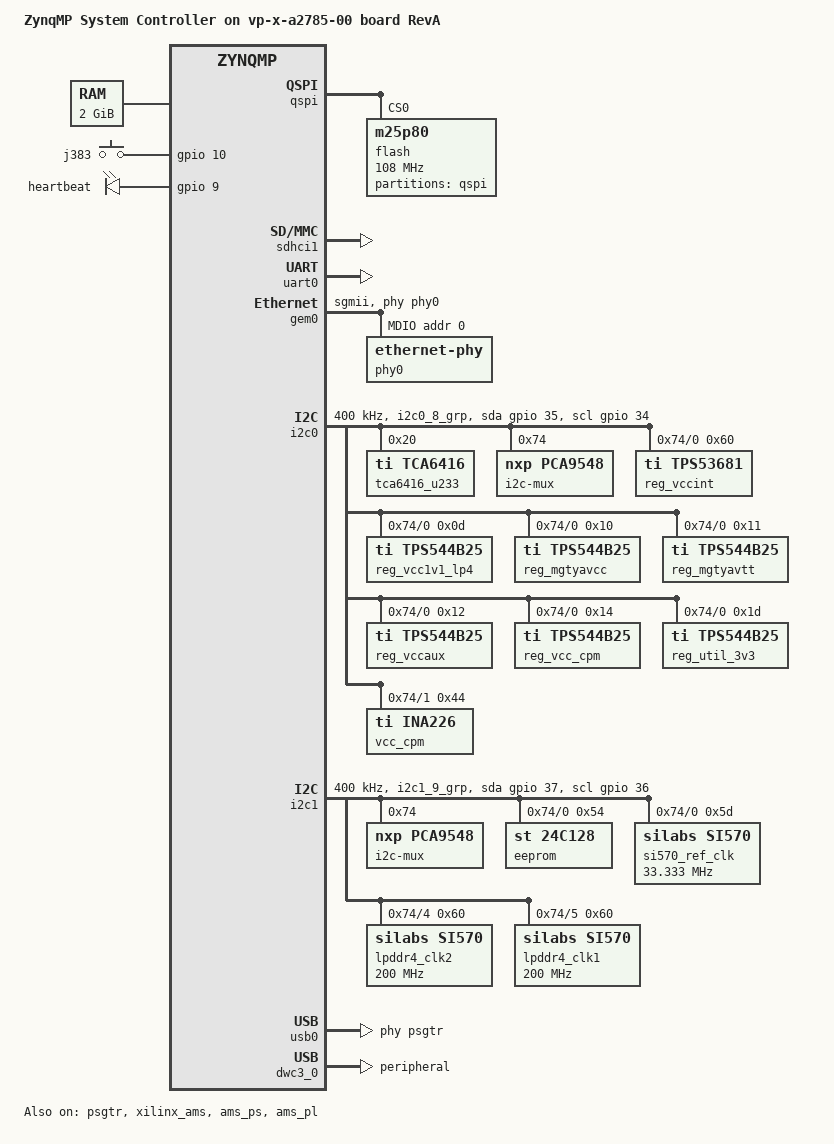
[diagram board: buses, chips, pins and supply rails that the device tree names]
// SPDX-License-Identifier: GPL-2.0
/*
 * dts file for Xilinx ZynqMP vp-x-a2785-00 RevA System Controller
 *
 * (C) Copyright 2021 - 2022, Xilinx, Inc.
 * (C) Copyright 2022 - 2023, Advanced Micro Devices, Inc.
 *
 * Michal Simek <michal.simek@amd.com>
 */
/dts-v1/;

#include "zynqmp.dtsi"
#include "zynqmp-clk-ccf.dtsi"
#include <dt-bindings/input/input.h>
#include <dt-bindings/gpio/gpio.h>
#include <dt-bindings/pinctrl/pinctrl-zynqmp.h>
#include <dt-bindings/phy/phy.h>

/ {
	model = "ZynqMP System Controller on vp-x-a2785-00 board RevA";
	compatible = "xlnx,zynqmp-vp-x-a2785-00-revA",
		     "xlnx,zynqmp-vp-x-a2785-00", "xlnx,zynqmp";

	aliases {
		ethernet0 = &gem0;
		i2c0 = &i2c0;
		i2c1 = &i2c1;
		mmc0 = &sdhci0;
		serial0 = &uart0;
		serial1 = &dcc;
		spi0 = &qspi;
		usb0 = &usb0;
		usb1 = &usb1;
		nvmem0 = &eeprom;
	};

	chosen {
		bootargs = "earlycon";
		stdout-path = "serial0:115200n8";
	};

	memory@0 {
		device_type = "memory";
		reg = <0 0 0 0x80000000>;
	};

	gpio-keys {
		compatible = "gpio-keys";
		autorepeat;
		j383 {
			label = "j383";
			gpios = <&gpio 10 GPIO_ACTIVE_HIGH>;
			linux,code = <BTN_MISC>;
			wakeup-source;
			autorepeat;
		};
	};

	leds {
		compatible = "gpio-leds";
		heartbeat-led { /* ds52 */
			label = "heartbeat";
			gpios = <&gpio 9 GPIO_ACTIVE_HIGH>;
			linux,default-trigger = "heartbeat";
		};
	};

	si5332_0: si5332-0 { /* ps_ref_clk - u142 */
		compatible = "fixed-clock";
		#clock-cells = <0>;
		clock-frequency = <33333333>;
	};

	si5332_1: si5332-1 { /* clk0_sgmii - u142 */
		compatible = "fixed-clock";
		#clock-cells = <0>;
		clock-frequency = <33333333>; /* FIXME */
	};

	si5332_2: si5332-2 { /* clk1_usb - u142 */
		compatible = "fixed-clock";
		#clock-cells = <0>;
		clock-frequency = <27000000>;
	};
};

&qspi { /* MIO 0-5 */
	status = "okay";
	flash@0 {
		compatible = "m25p80", "jedec,spi-nor"; /* u285 - mt25qu512abb8e12 512Mib */
		#address-cells = <1>;
		#size-cells = <1>;
		reg = <0>;
		spi-tx-bus-width = <4>; /* maybe 4 here */
		spi-rx-bus-width = <4>;
		spi-max-frequency = <108000000>;
		partition@0 { /* for testing purpose */
			label = "qspi";
			reg = <0 0x4000000>;
		};
	};
};

&sdhci1 { /* sd MIO 45-51 */
	status = "okay";
	no-1-8-v;
	disable-wp;
	xlnx,mio-bank = <1>;
};

&uart0 { /* uart0 MIO38-39 */
	status = "okay";
	bootph-all;
};

&gem0 {
	status = "okay";
	phy-handle = <&phy0>;
	phy-mode = "sgmii"; /* DTG generates this properly 1512 */
	is-internal-pcspma;
	/* phys = <&psgtr 0 PHY_TYPE_SGMII 0 0>; */
	mdio: mdio {
		#address-cells = <1>;
		#size-cells = <0>;
		/* reset-gpios = <&gpio 142 GPIO_ACTIVE_LOW>; */
		phy0: ethernet-phy@0 { /* u131 - M88e1512 */
			reg = <0>;
		};
	};
};

&gpio {
	status = "okay";
	gpio-line-names = "QSPI_CLK", "QSPI_DQ1", "QSPI_DQ2", "QSPI_DQ3", "QSPI_DQ0", /* 0 - 4 */
		  "QSPI_CS_B", "", "", "SYSCTLR_GPIO", "SYSCTLR_LED", /* 5 - 9 */
		  "SYSCTLR_PB", "PMC_ZU4_TRIGGER", "", "", "", /* 10 - 14 */
		  "", "", "", "", "", /* 15 - 19 */
		  "", "", "", "", "", /* 20 - 24 */
		  "", "", "", "", "", /* 25 - 29 */
		  "", "", "", "", "LP_I2C0_PMC_SCL", /* 30 - 34 */
		  "LP_I2C0_PMC_SDA", "LP_I2C1_SCL", "LP_I2C1_SDA", "UART0_RXD_IN", "UART0_TXD_OUT", /* 35 - 39 */
		  "", "", "ETH_RESET_B", "", "", /* 40 - 44 */
		  "SD1_CD", "SD1_DATA0", "SD1_DATA1", "SD1_DATA2", "SD1_DATA3", /* 45 - 49 */
		  "SD1_CMD", "SD1_CLK", "USB0_CLK", "USB0_DIR", "USB0_DATA2", /* 50 - 54 */
		  "USB0_NXT", "USB0_DATA0", "USB0_DATA1", "USB0_STP", "USB0_DATA3", /* 55 - 59 */
		  "USB0_DATA4", "USB0_DATA5", "USB0_DATA6", "USB0_DATA7", "", /* 60 - 64 */
		  "", "", "", "", "", /* 65 - 69 */
		  "", "", "", "", "", /* 70 - 74 */
		  "", "ETH_MDC", "ETH_MDIO", /* 75 - 77, MIO end and EMIO start */
		  "", "", /* 78 - 79 */
		  "", "", "", "", "", /* 80 - 84 */
		  "", "", "", "", "", /* 85 - 89 */
		  "", "", "", "", "", /* 90 - 94 */
		  "", "", "", "", "", /* 95 - 99 */
		  "", "", "", "", "", /* 100 - 104 */
		  "", "", "", "", "", /* 105 - 109 */
		  "", "", "", "", "", /* 110 - 114 */
		  "", "", "", "", "", /* 115 - 119 */
		  "", "", "", "", "", /* 120 - 124 */
		  "", "", "", "", "", /* 125 - 129 */
		  "", "", "", "", "", /* 130 - 134 */
		  "", "", "", "", "", /* 135 - 139 */
		  "", "", "", "", "", /* 140 - 144 */
		  "", "", "", "", "", /* 145 - 149 */
		  "", "", "", "", "", /* 150 - 154 */
		  "", "", "", "", "", /* 155 - 159 */
		  "", "", "", "", "", /* 160 - 164 */
		  "", "", "", "", "", /* 165 - 169 */
		  "", "", "", ""; /* 170 - 173 */
};

&i2c0 { /* MIO 34-35 - can't stay here */
	status = "okay";
	clock-frequency = <400000>;
	pinctrl-names = "default", "gpio";
	pinctrl-0 = <&pinctrl_i2c0_default>;
	pinctrl-1 = <&pinctrl_i2c0_gpio>;
	scl-gpios = <&gpio 34 (GPIO_ACTIVE_HIGH | GPIO_OPEN_DRAIN)>;
	sda-gpios = <&gpio 35 (GPIO_ACTIVE_HIGH | GPIO_OPEN_DRAIN)>;

	tca6416_u233: gpio@20 { /* u233 */ /* FIXME - address maybe wrong */
		compatible = "ti,tca6416";
		reg = <0x20>;
		gpio-controller; /* interrupt not connected */
		#gpio-cells = <2>;
		gpio-line-names = "MAX6643_OT_B", "MAX6643_FANFAIL_B", "", "", /* 0 - 3 */
				  "", "", "", "MAX6643_FULL_SPEED", /* 4 - 7 */
				  "", "", "", "VCCINT_FAULT_B", /* 10 - 13 */
				  "VCCINT_VRHOT_B", "", "PMBUS_ALERT", "PMBUS1_INA226_ALERT"; /* 14 - 17 */
	};

	i2c-mux@74 { /* u33 */
		compatible = "nxp,pca9548";
		#address-cells = <1>;
		#size-cells = <0>;
		reg = <0x74>;
		/* reset-gpios = <&gpio SYSCTLR_IIC_MUX0_RESET_B GPIO_ACTIVE_HIGH>; */
		pmbus_i2c: i2c@0 {
			#address-cells = <1>;
			#size-cells = <0>;
			reg = <0>;
			/* On connector J325 */
			reg_vccint: tps53681@60 { /* u266 - 0xc0 */
				compatible = "ti,tps53681", "ti,tps53679";
				reg = <0x60>;
			};
			reg_vcc1v1_lp4: tps544@d { /* u85 */
				compatible = "ti,tps544b25";
				reg = <0xd>;
			};
			reg_mgtyavcc: tps544@10 { /* u274 */
				compatible = "ti,tps544b25";
				reg = <0x10>;
			};
			reg_mgtyavtt: tps544@11 { /* u275 */
				compatible = "ti,tps544b25";
				reg = <0x11>;
			};
			reg_vccaux: tps544@12 { /* u276 */
				compatible = "ti,tps544b25";
				reg = <0x12>;
			};
			reg_vcc_cpm: tps544@14 { /* u272 */
				compatible = "ti,tps544b25";
				reg = <0x14>;
			};
			reg_util_3v3: tps544@1d { /* u278 */
				compatible = "ti,tps544b25";
				reg = <0x1d>;
			};
		};
		pmbus1_ina226_i2c: i2c@1 {
			#address-cells = <1>;
			#size-cells = <0>;
			reg = <1>;
			/* FIXME check alerts coming to SC */
			vcc_cpm: ina226@44 { /* u273 */
				compatible = "ti,ina226";
				reg = <0x44>;
				shunt-resistor = <1000>;
			};
		};
		i2c@2 { /* NC */ /* FIXME maybe remove */
			#address-cells = <1>;
			#size-cells = <0>;
			reg = <2>;
		};
		pcie_smbus: i2c@3 {
			#address-cells = <1>;
			#size-cells = <0>;
			reg = <3>;
		};
		pcie2_smbus: i2c@4 {
			#address-cells = <1>;
			#size-cells = <0>;
			reg = <4>;
		};
		i2c@5 { /* NC */
			#address-cells = <1>;
			#size-cells = <0>;
			reg = <5>;
		};
		user_si570: i2c@6 {
			#address-cells = <1>;
			#size-cells = <0>;
			reg = <6>;
		};
		/* 7 unused */
	};
};

&i2c1 { /* i2c1 MIO 36-37 */
	status = "okay";
	clock-frequency = <400000>;
	pinctrl-names = "default", "gpio";
	pinctrl-0 = <&pinctrl_i2c1_default>;
	pinctrl-1 = <&pinctrl_i2c1_gpio>;
	scl-gpios = <&gpio 36 (GPIO_ACTIVE_HIGH | GPIO_OPEN_DRAIN)>;
	sda-gpios = <&gpio 37 (GPIO_ACTIVE_HIGH | GPIO_OPEN_DRAIN)>;

	i2c-mux@74 { /* u35 */
		compatible = "nxp,pca9548";
		#address-cells = <1>;
		#size-cells = <0>;
		reg = <0x74>;
		/* reset-gpios = <&gpio SYSCTLR_IIC_MUX1_RESET_B GPIO_ACTIVE_HIGH>; */
		dc_i2c: i2c@0 {
			#address-cells = <1>;
			#size-cells = <0>;
			reg = <0>;
			/* Use for storing information about SC board */
			eeprom: eeprom@54 { /* u34 - m24128 16kB */
				compatible = "st,24c128", "atmel,24c128";
				reg = <0x54>; /* & 0x5c */
			};
			si570_ref_clk: clock-generator@5d { /* u32 */
				#clock-cells = <0>;
				compatible = "silabs,si570";
				reg = <0x5d>;
				temperature-stability = <50>;
				factory-fout = <33333333>;
				clock-frequency = <33333333>;
				clock-output-names = "ref_clk";
				silabs,skip-recall;
			};
		};
		i2c@1 { /* NC - FIXME */
			#address-cells = <1>;
			#size-cells = <0>;
			reg = <1>;
		};
		i2c@2 { /* NC - FIXME */
			#address-cells = <1>;
			#size-cells = <0>;
			reg = <2>;
		};
		i2c@3 { /* NC - FIXME */
			#address-cells = <1>;
			#size-cells = <0>;
			reg = <3>;
		};
		lpddr4_si570_clk2_i2c: i2c@4 {
			#address-cells = <1>;
			#size-cells = <0>;
			reg = <4>;
			lpddr4_clk2: clock-generator@60 { /* u3 */
				#clock-cells = <0>;
				compatible = "silabs,si570";
				reg = <0x60>;
				temperature-stability = <50>;
				factory-fout = <200000000>;
				clock-frequency = <200000000>;
				clock-output-names = "lpddr4_clk2";
			};
		};
		lpddr4_si570_clk1_i2c: i2c@5 {
			#address-cells = <1>;
			#size-cells = <0>;
			reg = <5>;
			lpddr4_clk1: clock-generator@60 { /* u248 */
				#clock-cells = <0>;
				compatible = "silabs,si570";
				reg = <0x60>;
				temperature-stability = <50>;
				factory-fout = <200000000>;
				clock-frequency = <200000000>;
				clock-output-names = "lpddr4_clk1";
			};
		};
		/* 6-7 unused */
	};
};

&usb0 { /* MIO52 - MIO63 */
	status = "okay";
	phy-names = "usb3-phy";
	phys = <&psgtr 1 PHY_TYPE_USB3 0 1>;
};

&psgtr {
	status = "okay";
	/* sgmii, usb3 */
	clocks = <&si5332_1>, <&si5332_2>;
	clock-names = "ref0", "ref1";
};

&dwc3_0 {
	status = "okay";
	dr_mode = "peripheral";
	snps,dis_u2_susphy_quirk;
	snps,dis_u3_susphy_quirk;
	maximum-speed = "super-speed";
};

&xilinx_ams {
	status = "okay";
};

&ams_ps {
	status = "okay";
};

&ams_pl {
	status = "okay";
};

&pinctrl0 {
	status = "okay";
	pinctrl_i2c0_default: i2c0-default {
		mux {
			groups = "i2c0_8_grp";
			function = "i2c0";
		};

		conf {
			groups = "i2c0_8_grp";
			bias-pull-up;
			slew-rate = <SLEW_RATE_SLOW>;
			power-source = <IO_STANDARD_LVCMOS18>;
		};
	};

	pinctrl_i2c0_gpio: i2c0-gpio-grp {
		mux {
			groups = "gpio0_34_grp", "gpio0_35_grp";
			function = "gpio0";
		};

		conf {
			groups = "gpio0_34_grp", "gpio0_35_grp";
			slew-rate = <SLEW_RATE_SLOW>;
			power-source = <IO_STANDARD_LVCMOS18>;
		};
	};

	pinctrl_i2c1_default: i2c1-default {
		mux {
			groups = "i2c1_9_grp";
			function = "i2c1";
		};

		conf {
			groups = "i2c1_9_grp";
			bias-pull-up;
			slew-rate = <SLEW_RATE_SLOW>;
			power-source = <IO_STANDARD_LVCMOS18>;
		};
	};

	pinctrl_i2c1_gpio: i2c1-gpio-grp {
		mux {
			groups = "gpio0_36_grp", "gpio0_37_grp";
			function = "gpio0";
		};

		conf {
			groups = "gpio0_36_grp", "gpio0_37_grp";
			slew-rate = <SLEW_RATE_SLOW>;
			power-source = <IO_STANDARD_LVCMOS18>;
		};
	};
};
